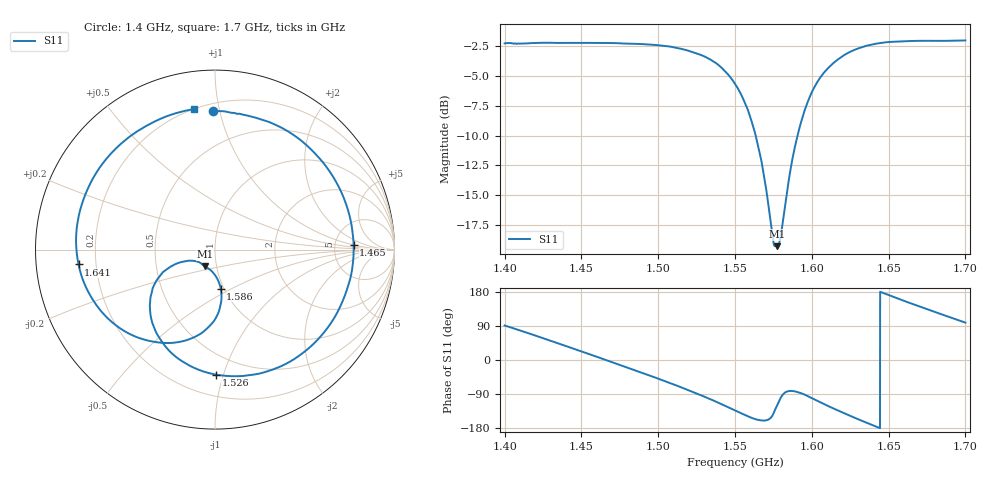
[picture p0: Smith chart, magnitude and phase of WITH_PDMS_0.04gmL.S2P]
!Keysight Technologies,E5063A,MY54503975,A.05.08
!Date: Fri Mar 07 04:31:05 2025
!Data & Calibration Information:
!Freq	S11:NONE(--)	S21:RESPT(ON)	S12:NONE(--)	S22:NONE(--)
# Hz S RI R 50
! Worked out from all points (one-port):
!   3001 points, 1.4 GHz to 1.7 GHz, reference 50 ohm
!   lowest |S11| = -19.3 dB at 1.577 GHz (marker M1), VSWR 1.24, Z = 44 - j8.29 ohm
!   |S11| at or under -10 dB: 1.563 GHz to 1.591 GHz (27.26 MHz wide, 1.73 % of centre)
!   S11 on the Smith chart (normalised r, x): 1.4 GHz: 0.25, +0.95; 1.465 GHz: 7.67, +0.98; 1.526 GHz: 0.35, -0.95; 1.586 GHz: 0.97, -0.44; 1.641 GHz: 0.13, -0.05; 1.7 GHz: 0.20, +0.84
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1.4e9  -0.0137 0.7695  -0 -0  0 0  0 0
1.4239e9  0.3974 0.6643  0 -0  0 0  0 0
1.45e9  0.7132 0.2986  -0 0  0 0  0 0
1.4646e9  0.7723 0.0258  -0 0  0 0  0 0
1.4826e9  0.7022 -0.3072  0 -0  0 0  0 0
1.5e9  0.4939 -0.5724  0 -0  0 0  0 0
1.5133e9  0.258 -0.6881  0 0  0 0  0 0
1.5256e9  0.00689 -0.6966  0 0  0 0  0 0
1.5372e9  -0.2098 -0.6037  0 0  0 0  0 0
1.55e9  -0.3563 -0.3809  0 -0  0 0  0 0
1.5634e9  -0.2912 -0.1266  0 0  0 0  0 0
1.5747e9  -0.0941 -0.0682  0 0  0 0  0 0
1.5773e9  -0.0561 -0.0932  0 0  0 0  0 0
1.5857e9  0.0318 -0.2168  0 0  0 0  0 0
1.6e9  -0.0868 -0.4727  0 -0  0 0  0 0
1.6082e9  -0.2626 -0.5205  0 -0  0 0  0 0
1.6178e9  -0.4655 -0.4747  -0 0  0 0  0 0
1.6295e9  -0.6625 -0.3066  -0 0  0 0  0 0
1.6407e9  -0.7603 -0.0827  -0 -0  0 0  0 0
1.65e9  -0.7705 0.1182  -0 -0  0 0  0 0
1.6763e9  -0.5297 0.5847  -0 -0  0 0  0 0
1.7e9  -0.1191 0.7825  -0 -0  0 0  0 0
